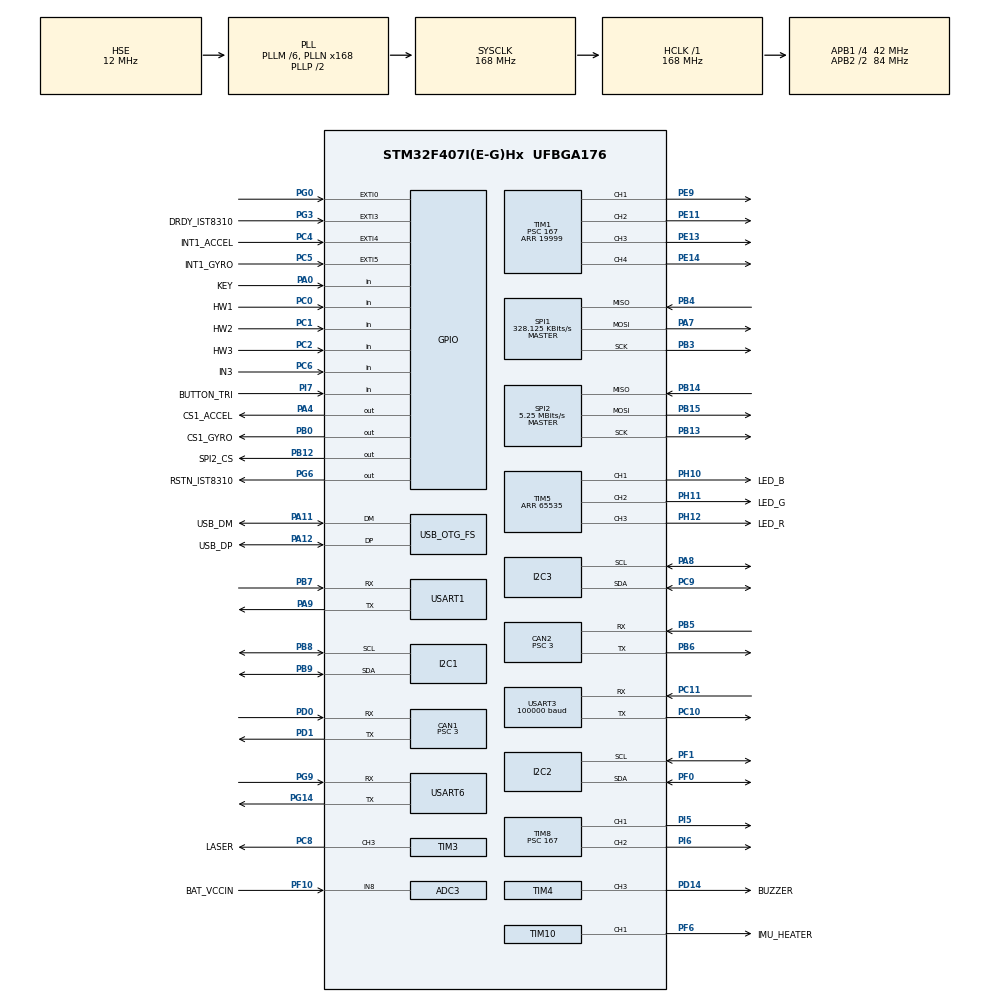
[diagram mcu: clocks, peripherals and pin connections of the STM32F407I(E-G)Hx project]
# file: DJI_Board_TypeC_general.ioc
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ADC1.Channel-0\#ChannelRegularConversion=ADC_CHANNEL_TEMPSENSOR
ADC1.Channel-1\#ChannelRegularConversion=ADC_CHANNEL_VREFINT
ADC1.ClockPrescaler=ADC_CLOCK_SYNC_PCLK_DIV6
ADC1.NbrOfConversion=2
ADC1.NbrOfConversionFlag=1
ADC1.Rank-0\#ChannelRegularConversion=1
ADC1.Rank-1\#ChannelRegularConversion=2
ADC1.SamplingTime-0\#ChannelRegularConversion=ADC_SAMPLETIME_3CYCLES
ADC1.SamplingTime-1\#ChannelRegularConversion=ADC_SAMPLETIME_3CYCLES
ADC1.master=1
ADC3.Channel-0\#ChannelRegularConversion=ADC_CHANNEL_8
ADC3.ClockPrescaler=ADC_CLOCK_SYNC_PCLK_DIV6
ADC3.NbrOfConversionFlag=1
ADC3.Rank-0\#ChannelRegularConversion=1
ADC3.SamplingTime-0\#ChannelRegularConversion=ADC_SAMPLETIME_3CYCLES
CAN1.ABOM=ENABLE
CAN1.BS1=CAN_BS1_9TQ
CAN1.BS2=CAN_BS2_4TQ
CAN1.CalculateBaudRate=1000000
CAN1.CalculateTimeBit=1000
CAN1.CalculateTimeQuantum=71.42857142857143
CAN1.NART=ENABLE
CAN1.Prescaler=3
CAN2.ABOM=ENABLE
CAN2.BS1=CAN_BS1_9TQ
CAN2.BS2=CAN_BS2_4TQ
CAN2.CalculateBaudRate=1000000
CAN2.CalculateTimeBit=1000
CAN2.CalculateTimeQuantum=71.42857142857143
CAN2.NART=ENABLE
CAN2.Prescaler=3
Dma.I2C2_RX.10.Direction=DMA_PERIPH_TO_MEMORY
Dma.I2C2_RX.10.FIFOMode=DMA_FIFOMODE_DISABLE
Dma.I2C2_RX.10.Instance=DMA1_Stream3
Dma.I2C2_RX.10.MemDataAlignment=DMA_MDATAALIGN_BYTE
Dma.I2C2_RX.10.MemInc=DMA_MINC_ENABLE
Dma.I2C2_RX.10.Mode=DMA_NORMAL
Dma.I2C2_RX.10.PeriphDataAlignment=DMA_PDATAALIGN_BYTE
Dma.I2C2_RX.10.PeriphInc=DMA_PINC_DISABLE
Dma.I2C2_RX.10.Priority=DMA_PRIORITY_HIGH
Dma.I2C2_TX.5.Direction=DMA_MEMORY_TO_PERIPH
Dma.I2C2_TX.5.FIFOMode=DMA_FIFOMODE_DISABLE
Dma.I2C2_TX.5.Instance=DMA1_Stream7
Dma.I2C2_TX.5.MemDataAlignment=DMA_MDATAALIGN_BYTE
Dma.I2C2_TX.5.MemInc=DMA_MINC_ENABLE
Dma.I2C2_TX.5.Mode=DMA_NORMAL
Dma.I2C2_TX.5.PeriphDataAlignment=DMA_PDATAALIGN_BYTE
Dma.I2C2_TX.5.PeriphInc=DMA_PINC_DISABLE
Dma.I2C2_TX.5.Priority=DMA_PRIORITY_HIGH
Dma.I2C3_RX.8.Direction=DMA_PERIPH_TO_MEMORY
Dma.I2C3_RX.8.FIFOMode=DMA_FIFOMODE_DISABLE
Dma.I2C3_RX.8.Instance=DMA1_Stream2
Dma.I2C3_RX.8.MemDataAlignment=DMA_MDATAALIGN_BYTE
Dma.I2C3_RX.8.MemInc=DMA_MINC_ENABLE
Dma.I2C3_RX.8.Mode=DMA_NORMAL
Dma.I2C3_RX.8.PeriphDataAlignment=DMA_PDATAALIGN_BYTE
Dma.I2C3_RX.8.PeriphInc=DMA_PINC_DISABLE
Dma.I2C3_RX.8.Priority=DMA_PRIORITY_HIGH
Dma.I2C3_TX.9.Direction=DMA_MEMORY_TO_PERIPH
Dma.I2C3_TX.9.FIFOMode=DMA_FIFOMODE_DISABLE
Dma.I2C3_TX.9.Instance=DMA1_Stream4
Dma.I2C3_TX.9.MemDataAlignment=DMA_MDATAALIGN_BYTE
Dma.I2C3_TX.9.MemInc=DMA_MINC_ENABLE
Dma.I2C3_TX.9.Mode=DMA_NORMAL
Dma.I2C3_TX.9.PeriphDataAlignment=DMA_PDATAALIGN_BYTE
Dma.I2C3_TX.9.PeriphInc=DMA_PINC_DISABLE
Dma.I2C3_TX.9.Priority=DMA_PRIORITY_HIGH
Dma.Request0=USART1_TX
Dma.Request1=USART1_RX
Dma.Request10=I2C2_RX
Dma.Request2=USART3_RX
Dma.Request3=USART6_RX
Dma.Request4=USART6_TX
Dma.Request5=I2C2_TX
Dma.Request6=SPI1_RX
Dma.Request7=SPI1_TX
Dma.Request8=I2C3_RX
Dma.Request9=I2C3_TX
Dma.SPI1_RX.6.Direction=DMA_PERIPH_TO_MEMORY
Dma.SPI1_RX.6.FIFOMode=DMA_FIFOMODE_DISABLE
Dma.SPI1_RX.6.Instance=DMA2_Stream0
Dma.SPI1_RX.6.MemDataAlignment=DMA_MDATAALIGN_BYTE
Dma.SPI1_RX.6.MemInc=DMA_MINC_ENABLE
Dma.SPI1_RX.6.Mode=DMA_NORMAL
Dma.SPI1_RX.6.PeriphDataAlignment=DMA_PDATAALIGN_BYTE
Dma.SPI1_RX.6.PeriphInc=DMA_PINC_DISABLE
Dma.SPI1_RX.6.Priority=DMA_PRIORITY_VERY_HIGH
Dma.SPI1_TX.7.Direction=DMA_MEMORY_TO_PERIPH
Dma.SPI1_TX.7.FIFOMode=DMA_FIFOMODE_DISABLE
Dma.SPI1_TX.7.Instance=DMA2_Stream3
Dma.SPI1_TX.7.MemDataAlignment=DMA_MDATAALIGN_BYTE
Dma.SPI1_TX.7.MemInc=DMA_MINC_ENABLE
Dma.SPI1_TX.7.Mode=DMA_NORMAL
Dma.SPI1_TX.7.PeriphDataAlignment=DMA_PDATAALIGN_BYTE
Dma.SPI1_TX.7.PeriphInc=DMA_PINC_DISABLE
Dma.SPI1_TX.7.Priority=DMA_PRIORITY_VERY_HIGH
Dma.USART1_RX.1.Direction=DMA_PERIPH_TO_MEMORY
Dma.USART1_RX.1.FIFOMode=DMA_FIFOMODE_DISABLE
Dma.USART1_RX.1.Instance=DMA2_Stream5
Dma.USART1_RX.1.MemDataAlignment=DMA_MDATAALIGN_BYTE
Dma.USART1_RX.1.MemInc=DMA_MINC_ENABLE
Dma.USART1_RX.1.Mode=DMA_CIRCULAR
Dma.USART1_RX.1.PeriphDataAlignment=DMA_PDATAALIGN_BYTE
Dma.USART1_RX.1.PeriphInc=DMA_PINC_DISABLE
Dma.USART1_RX.1.Priority=DMA_PRIORITY_MEDIUM
Dma.USART1_TX.0.Direction=DMA_MEMORY_TO_PERIPH
Dma.USART1_TX.0.FIFOMode=DMA_FIFOMODE_DISABLE
Dma.USART1_TX.0.Instance=DMA2_Stream7
Dma.USART1_TX.0.MemDataAlignment=DMA_MDATAALIGN_BYTE
Dma.USART1_TX.0.MemInc=DMA_MINC_ENABLE
Dma.USART1_TX.0.Mode=DMA_NORMAL
Dma.USART1_TX.0.PeriphDataAlignment=DMA_PDATAALIGN_BYTE
Dma.USART1_TX.0.PeriphInc=DMA_PINC_DISABLE
Dma.USART1_TX.0.Priority=DMA_PRIORITY_MEDIUM
Dma.USART3_RX.2.Direction=DMA_PERIPH_TO_MEMORY
Dma.USART3_RX.2.FIFOMode=DMA_FIFOMODE_DISABLE
Dma.USART3_RX.2.Instance=DMA1_Stream1
Dma.USART3_RX.2.MemDataAlignment=DMA_MDATAALIGN_BYTE
Dma.USART3_RX.2.MemInc=DMA_MINC_ENABLE
Dma.USART3_RX.2.Mode=DMA_CIRCULAR
Dma.USART3_RX.2.PeriphDataAlignment=DMA_PDATAALIGN_BYTE
Dma.USART3_RX.2.PeriphInc=DMA_PINC_DISABLE
Dma.USART3_RX.2.Priority=DMA_PRIORITY_HIGH
Dma.USART6_RX.3.Direction=DMA_PERIPH_TO_MEMORY
Dma.USART6_RX.3.FIFOMode=DMA_FIFOMODE_DISABLE
Dma.USART6_RX.3.Instance=DMA2_Stream1
Dma.USART6_RX.3.MemDataAlignment=DMA_MDATAALIGN_BYTE
Dma.USART6_RX.3.MemInc=DMA_MINC_ENABLE
Dma.USART6_RX.3.Mode=DMA_CIRCULAR
Dma.USART6_RX.3.PeriphDataAlignment=DMA_PDATAALIGN_BYTE
Dma.USART6_RX.3.PeriphInc=DMA_PINC_DISABLE
Dma.USART6_RX.3.Priority=DMA_PRIORITY_HIGH
Dma.USART6_TX.4.Direction=DMA_MEMORY_TO_PERIPH
Dma.USART6_TX.4.FIFOMode=DMA_FIFOMODE_DISABLE
Dma.USART6_TX.4.Instance=DMA2_Stream6
Dma.USART6_TX.4.MemDataAlignment=DMA_MDATAALIGN_BYTE
Dma.USART6_TX.4.MemInc=DMA_MINC_ENABLE
Dma.USART6_TX.4.Mode=DMA_NORMAL
Dma.USART6_TX.4.PeriphDataAlignment=DMA_PDATAALIGN_BYTE
Dma.USART6_TX.4.PeriphInc=DMA_PINC_DISABLE
Dma.USART6_TX.4.Priority=DMA_PRIORITY_HIGH
FREERTOS.Tasks01=defaultTask,32,1024,StartDefaultTask,Default,NULL,Dynamic,NULL,NULL
FREERTOS.configCHECK_FOR_STACK_OVERFLOW=2
FREERTOS.configENABLE_FPU=1
FREERTOS.configGENERATE_RUN_TIME_STATS=1
FREERTOS.configLIBRARY_MAX_SYSCALL_INTERRUPT_PRIORITY=5
FREERTOS.configTOTAL_HEAP_SIZE=65536
I2C1.I2C_Mode=I2C_Fast
I2C2.I2C_Mode=I2C_Fast
I2C3.I2C_Mode=I2C_Fast
Mcu.Family=STM32F4
Mcu.Name=STM32F407I(E-G)Hx
Mcu.Package=UFBGA176
NVIC.ADC_IRQn=true\:5\:0\:false\:false\:true\:true\:true\:true\:true
NVIC.CAN1_RX0_IRQn=true\:5\:0\:false\:false\:true\:true\:true\:true\:true
NVIC.CAN1_TX_IRQn=true\:5\:0\:false\:false\:true\:true\:true\:true\:true
NVIC.CAN2_RX0_IRQn=true\:5\:0\:false\:false\:true\:true\:true\:true\:true
NVIC.CAN2_RX1_IRQn=true\:5\:0\:false\:false\:true\:true\:true\:true\:true
NVIC.CAN2_TX_IRQn=true\:5\:0\:false\:false\:true\:true\:true\:true\:true
NVIC.DMA1_Stream1_IRQn=true\:5\:0\:false\:false\:true\:true\:false\:true\:true
NVIC.DMA1_Stream2_IRQn=true\:5\:0\:false\:false\:true\:true\:false\:true\:true
NVIC.DMA1_Stream3_IRQn=true\:5\:0\:false\:false\:true\:true\:false\:true\:true
NVIC.DMA1_Stream4_IRQn=true\:5\:0\:false\:false\:true\:true\:false\:true\:true
NVIC.DMA1_Stream7_IRQn=true\:5\:0\:false\:false\:true\:true\:false\:true\:true
NVIC.DMA2_Stream0_IRQn=true\:5\:0\:false\:false\:true\:true\:false\:true\:true
NVIC.DMA2_Stream1_IRQn=true\:5\:0\:false\:false\:true\:true\:false\:true\:true
NVIC.DMA2_Stream3_IRQn=true\:5\:0\:false\:false\:true\:true\:false\:true\:true
NVIC.DMA2_Stream5_IRQn=true\:5\:0\:false\:false\:true\:false\:false\:true\:true
NVIC.DMA2_Stream6_IRQn=true\:5\:0\:false\:false\:true\:true\:false\:true\:true
NVIC.DMA2_Stream7_IRQn=true\:5\:0\:false\:false\:true\:true\:false\:true\:true
NVIC.EXTI0_IRQn=true\:5\:0\:false\:false\:true\:true\:true\:true\:true
NVIC.EXTI3_IRQn=true\:5\:0\:true\:false\:true\:true\:true\:true\:true
NVIC.EXTI4_IRQn=true\:5\:0\:true\:false\:true\:true\:true\:true\:true
NVIC.EXTI9_5_IRQn=true\:5\:0\:false\:false\:true\:true\:true\:true\:true
NVIC.I2C1_ER_IRQn=true\:5\:0\:false\:false\:true\:true\:true\:true\:true
NVIC.I2C1_EV_IRQn=true\:5\:0\:false\:false\:true\:true\:true\:true\:true
NVIC.I2C2_ER_IRQn=true\:5\:0\:false\:false\:true\:true\:true\:true\:true
NVIC.I2C2_EV_IRQn=true\:5\:0\:false\:false\:true\:true\:true\:true\:true
NVIC.I2C3_ER_IRQn=true\:5\:0\:false\:false\:true\:true\:true\:true\:true
NVIC.I2C3_EV_IRQn=true\:5\:0\:false\:false\:true\:true\:true\:true\:true
NVIC.OTG_FS_IRQn=true\:5\:0\:false\:false\:true\:true\:true\:true\:true
NVIC.PriorityGroup=NVIC_PRIORITYGROUP_4
NVIC.SPI1_IRQn=true\:5\:0\:true\:false\:true\:true\:true\:true\:true
NVIC.SPI2_IRQn=true\:5\:0\:false\:false\:true\:true\:true\:true\:true
NVIC.TIM2_IRQn=true\:0\:0\:false\:false\:true\:false\:false\:true\:true
NVIC.TimeBase=TIM2_IRQn
NVIC.TimeBaseIP=TIM2
NVIC.USART1_IRQn=true\:5\:0\:true\:false\:true\:true\:true\:true\:true
NVIC.USART3_IRQn=true\:4\:0\:true\:false\:true\:false\:true\:true\:true
NVIC.USART6_IRQn=true\:5\:0\:true\:false\:true\:true\:true\:true\:true
PA0-WKUP.GPIO_Label=KEY
PA0-WKUP.GPIO_PuPd=GPIO_PULLUP
PA0-WKUP.Signal=GPIO_Input
PA11.GPIO_Label=USB_DM
PA11.Mode=Device_Only
PA11.Signal=USB_OTG_FS_DM
PA12.GPIO_Label=USB_DP
PA12.Mode=Device_Only
PA12.Signal=USB_OTG_FS_DP
PA13.Mode=Serial_Wire
PA13.Signal=SYS_JTMS-SWDIO
PA14.Mode=Serial_Wire
PA14.Signal=SYS_JTCK-SWCLK
PA4.GPIO_Label=CS1_ACCEL
PA4.GPIO_PuPd=GPIO_PULLUP
PA4.GPIO_Speed=GPIO_SPEED_FREQ_HIGH
PA4.PinState=GPIO_PIN_SET
PA4.Signal=GPIO_Output
PA7.GPIO_PuPd=GPIO_PULLUP
PA7.Mode=Full_Duplex_Master
PA7.Signal=SPI1_MOSI
PA8.GPIO_Pu=GPIO_PULLUP
PA8.Mode=I2C
PA8.Signal=I2C3_SCL
PA9.Mode=Asynchronous
PA9.Signal=USART1_TX
PB0.GPIO_Label=CS1_GYRO
PB0.GPIO_PuPd=GPIO_PULLUP
PB0.GPIO_Speed=GPIO_SPEED_FREQ_HIGH
PB0.PinState=GPIO_PIN_SET
PB0.Signal=GPIO_Output
PB12.GPIO_Label=SPI2_CS
PB12.GPIO_PuPd=GPIO_PULLUP
PB12.GPIO_Speed=GPIO_SPEED_FREQ_MEDIUM
PB12.PinState=GPIO_PIN_SET
PB12.Signal=GPIO_Output
PB13.GPIO_PuPd=GPIO_PULLUP
PB13.Mode=Full_Duplex_Master
PB13.Signal=SPI2_SCK
PB14.GPIO_PuPd=GPIO_PULLUP
PB14.Mode=Full_Duplex_Master
PB14.Signal=SPI2_MISO
PB15.GPIO_PuPd=GPIO_PULLUP
PB15.Mode=Full_Duplex_Master
PB15.Signal=SPI2_MOSI
PB3.GPIO_PuPd=GPIO_PULLUP
PB3.Mode=Full_Duplex_Master
PB3.Signal=SPI1_SCK
PB4.GPIO_PuPd=GPIO_PULLUP
PB4.Mode=Full_Duplex_Master
PB4.Signal=SPI1_MISO
PB5.Mode=CAN_Activate
PB5.Signal=CAN2_RX
PB6.Mode=CAN_Activate
PB6.Signal=CAN2_TX
PB7.Mode=Asynchronous
PB7.Signal=USART1_RX
PB8.GPIO_Pu=GPIO_PULLUP
PB8.Mode=I2C
PB8.Signal=I2C1_SCL
PB9.GPIO_Pu=GPIO_PULLUP
PB9.Mode=I2C
PB9.Signal=I2C1_SDA
PC0.GPIO_Label=HW1
PC0.Signal=GPIO_Input
PC1.GPIO_Label=HW2
PC1.Signal=GPIO_Input
PC10.Mode=Asynchronous
PC10.Signal=USART3_TX
PC11.Mode=Asynchronous
PC11.Signal=USART3_RX
PC2.GPIO_Label=HW3
PC2.Signal=GPIO_Input
PC4.GPIO_Label=INT1_ACCEL
PC4.GPIO_PuPd=GPIO_PULLUP
PC4.Signal=GPXTI4
PC5.GPIO_Label=INT1_GYRO
PC5.GPIO_PuPd=GPIO_PULLUP
PC5.Signal=GPXTI5
PC6.GPIO_Label=IN3
PC6.GPIO_PuPd=GPIO_PULLUP
PC6.Signal=GPIO_Input
PC8.GPIO_Label=LASER
PC8.GPIO_Speed=GPIO_SPEED_FREQ_VERY_HIGH
PC8.Signal=S_TIM3_CH3
PC9.GPIO_Pu=GPIO_PULLUP
PC9.Mode=I2C
PC9.Signal=I2C3_SDA
PD0.Mode=CAN_Activate
PD0.Signal=CAN1_RX
PD1.Mode=CAN_Activate
PD1.Signal=CAN1_TX
PD14.GPIO_Label=BUZZER
PD14.GPIO_Speed=GPIO_SPEED_FREQ_VERY_HIGH
PD14.Signal=S_TIM4_CH3
PE11.GPIO_Speed=GPIO_SPEED_FREQ_VERY_HIGH
PE11.Signal=S_TIM1_CH2
PE13.GPIO_Speed=GPIO_SPEED_FREQ_VERY_HIGH
PE13.Signal=S_TIM1_CH3
PE14.GPIO_Speed=GPIO_SPEED_FREQ_VERY_HIGH
PE14.Signal=S_TIM1_CH4
PE9.GPIO_Speed=GPIO_SPEED_FREQ_VERY_HIGH
PE9.Signal=S_TIM1_CH1
PF0.GPIO_Pu=GPIO_PULLUP
PF0.Mode=I2C
PF0.Signal=I2C2_SDA
PF1.GPIO_Pu=GPIO_PULLUP
PF1.Mode=I2C
PF1.Signal=I2C2_SCL
PF10.GPIO_Label=BAT_VCCIN
PF10.Mode=IN8
PF10.Signal=ADC3_IN8
PF6.GPIO_Label=IMU_HEATER
PF6.GPIO_Speed=GPIO_SPEED_FREQ_VERY_HIGH
PF6.Signal=S_TIM10_CH1
PG0.GPIO_PuPd=GPIO_PULLUP
PG0.Signal=GPXTI0
PG14.Mode=Asynchronous
PG14.Signal=USART6_TX
PG3.GPIO_Label=DRDY_IST8310
PG3.GPIO_PuPd=GPIO_PULLUP
PG3.Signal=GPXTI3
PG6.GPIO_Label=RSTN_IST8310
PG6.GPIO_PuPd=GPIO_PULLUP
PG6.GPIO_Speed=GPIO_SPEED_FREQ_MEDIUM
PG6.PinState=GPIO_PIN_SET
PG6.Signal=GPIO_Output
PG9.Mode=Asynchronous
PG9.Signal=USART6_RX
PH0-OSC_IN.Mode=HSE-External-Oscillator
PH0-OSC_IN.Signal=RCC_OSC_IN
PH1-OSC_OUT.Mode=HSE-External-Oscillator
PH1-OSC_OUT.Signal=RCC_OSC_OUT
PH10.GPIO_Label=LED_B
PH10.GPIO_Speed=GPIO_SPEED_FREQ_VERY_HIGH
PH10.Signal=S_TIM5_CH1
PH11.GPIO_Label=LED_G
PH11.GPIO_Speed=GPIO_SPEED_FREQ_VERY_HIGH
PH11.Signal=S_TIM5_CH2
PH12.GPIO_Label=LED_R
PH12.GPIO_Speed=GPIO_SPEED_FREQ_VERY_HIGH
PH12.Signal=S_TIM5_CH3
PI5.GPIO_Speed=GPIO_SPEED_FREQ_VERY_HIGH
PI5.Signal=S_TIM8_CH1
PI6.GPIO_Speed=GPIO_SPEED_FREQ_VERY_HIGH
PI6.Signal=S_TIM8_CH2
PI7.GPIO_Label=BUTTON_TRI
PI7.GPIO_PuPd=GPIO_PULLUP
PI7.Signal=GPIO_Input
ProjectManager.HeapSize=0x2000
ProjectManager.StackSize=0x2000
ProjectManager.TargetToolchain=Makefile
RCC.48MHZClocksFreq_Value=48000000
RCC.AHBFreq_Value=168000000
RCC.APB1CLKDivider=RCC_HCLK_DIV4
RCC.APB1Freq_Value=42000000
RCC.APB1TimFreq_Value=84000000
RCC.APB2CLKDivider=RCC_HCLK_DIV2
RCC.APB2Freq_Value=84000000
RCC.APB2TimFreq_Value=168000000
RCC.CortexFreq_Value=168000000
RCC.HCLKFreq_Value=168000000
RCC.HSE_VALUE=12000000
RCC.HSI_VALUE=16000000
RCC.LSE_VALUE=32768
RCC.PLLM=6
RCC.PLLN=168
RCC.PLLQ=7
RCC.SYSCLKFreq_VALUE=168000000
RCC.SYSCLKSource=RCC_SYSCLKSOURCE_PLLCLK
RCC.VCOOutputFreq_Value=336000000
RTC.AsynchPrediv=124
RTC.SynchPrediv=3199
SH.S_TIM10_CH1.0=TIM10_CH1,PWM Generation1 CH1
SH.S_TIM1_CH1.0=TIM1_CH1,PWM Generation1 CH1
SH.S_TIM1_CH2.0=TIM1_CH2,PWM Generation2 CH2
SH.S_TIM1_CH3.0=TIM1_CH3,PWM Generation3 CH3
SH.S_TIM1_CH4.0=TIM1_CH4,PWM Generation4 CH4
SH.S_TIM3_CH3.0=TIM3_CH3,PWM Generation3 CH3
SH.S_TIM4_CH3.0=TIM4_CH3,PWM Generation3 CH3
SH.S_TIM5_CH1.0=TIM5_CH1,PWM Generation1 CH1
SH.S_TIM5_CH2.0=TIM5_CH2,PWM Generation2 CH2
SH.S_TIM5_CH3.0=TIM5_CH3,PWM Generation3 CH3
SH.S_TIM8_CH1.0=TIM8_CH1,PWM Generation1 CH1
SH.S_TIM8_CH2.0=TIM8_CH2,PWM Generation2 CH2
SPI1.BaudRatePrescaler=SPI_BAUDRATEPRESCALER_256
SPI1.CLKPhase=SPI_PHASE_2EDGE
SPI1.CLKPolarity=SPI_POLARITY_HIGH
SPI1.CalculateBaudRate=328.125 KBits/s
SPI1.Direction=SPI_DIRECTION_2LINES
SPI1.Mode=SPI_MODE_MASTER
SPI1.VirtualType=VM_MASTER
SPI2.BaudRatePrescaler=SPI_BAUDRATEPRESCALER_8
SPI2.CLKPhase=SPI_PHASE_2EDGE
SPI2.CLKPolarity=SPI_POLARITY_HIGH
SPI2.CalculateBaudRate=5.25 MBits/s
SPI2.Direction=SPI_DIRECTION_2LINES
SPI2.Mode=SPI_MODE_MASTER
SPI2.VirtualType=VM_MASTER
TIM1.Channel-PWM\ Generation1\ CH1=TIM_CHANNEL_1
TIM1.Channel-PWM\ Generation2\ CH2=TIM_CHANNEL_2
TIM1.Channel-PWM\ Generation3\ CH3=TIM_CHANNEL_3
TIM1.Channel-PWM\ Generation4\ CH4=TIM_CHANNEL_4
TIM1.Period=19999
TIM1.Prescaler=167
TIM1.Pulse-PWM\ Generation1\ CH1=1000
TIM1.Pulse-PWM\ Generation2\ CH2=1000
TIM1.Pulse-PWM\ Generation3\ CH3=1000
TIM1.Pulse-PWM\ Generation4\ CH4=1000
TIM10.Channel=TIM_CHANNEL_1
TIM10.Period=4999
TIM3.Channel-PWM\ Generation3\ CH3=TIM_CHANNEL_3
TIM3.Period=65535
TIM3.Prescaler=0
TIM4.Channel-PWM\ Generation3\ CH3=TIM_CHANNEL_3
TIM4.Period=0
TIM4.Prescaler=83
TIM5.Channel-PWM\ Generation1\ CH1=TIM_CHANNEL_1
TIM5.Channel-PWM\ Generation2\ CH2=TIM_CHANNEL_2
TIM5.Channel-PWM\ Generation3\ CH3=TIM_CHANNEL_3
TIM5.Period=65535
TIM8.Channel-PWM\ Generation1\ CH1=TIM_CHANNEL_1
TIM8.Channel-PWM\ Generation2\ CH2=TIM_CHANNEL_2
TIM8.Period=19999
TIM8.Prescaler=167
TIM8.Pulse-PWM\ Generation1\ CH1=1000
TIM8.Pulse-PWM\ Generation2\ CH2=1000
USART1.VirtualMode=VM_ASYNC
USART3.BaudRate=100000
USART3.Mode=MODE_RX
USART3.Parity=PARITY_EVEN
USART3.VirtualMode=VM_ASYNC
USART3.WordLength=WORDLENGTH_8B
USART6.VirtualMode=VM_ASYNC
USB_DEVICE.CLASS_NAME_FS=CDC
USB_DEVICE.VirtualMode-CDC_FS=Cdc
USB_DEVICE.VirtualModeFS=Cdc_FS
USB_OTG_FS.VirtualMode=Device_Only
VP_ADC1_TempSens_Input.Mode=IN-TempSens
VP_ADC1_Vref_Input.Mode=IN-Vrefint
VP_CRC_VS_CRC.Mode=CRC_Activate
VP_FREERTOS_VS_CMSIS_V2.Mode=CMSIS_V2
VP_RNG_VS_RNG.Mode=RNG_Activate
VP_RTC_VS_RTC_Activate.Mode=RTC_Enabled
VP_SYS_VS_tim2.Mode=TIM2
VP_TIM10_VS_ClockSourceINT.Mode=Enable_Timer
VP_TIM1_VS_ClockSourceINT.Mode=Internal
VP_TIM3_VS_ClockSourceINT.Mode=Internal
VP_TIM5_VS_ClockSourceINT.Mode=Internal
VP_TIM8_VS_ClockSourceINT.Mode=Internal
VP_USB_DEVICE_VS_USB_DEVICE_CDC_FS.Mode=CDC_FS
board=custom

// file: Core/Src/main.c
/* USER CODE BEGIN Header */
/**
  ******************************************************************************
  * @file           : main.c
  * @brief          : Main program body
  ******************************************************************************
  * @attention
  *
  * Copyright (c) 2023 STMicroelectronics.
  * All rights reserved.
  *
  * This software is licensed under terms that can be found in the LICENSE file
  * in the root directory of this software component.
  * If no LICENSE file comes with this software, it is provided AS-IS.
  *
  ******************************************************************************
  */
/* USER CODE END Header */
#include "main.h"
#include "cmsis_os.h"
#include "adc.h"
#include "can.h"
#include "crc.h"
#include "dma.h"
#include "i2c.h"
#include "rng.h"
#include "rtc.h"
#include "spi.h"
#include "tim.h"
#include "usart.h"
#include "usb_device.h"
#include "gpio.h"

void SystemClock_Config(void);
void MX_FREERTOS_Init(void);

int main(void)
{

  /* MCU Configuration--------------------------------------------------------*/

  /* Reset of all peripherals, Initializes the Flash interface and the Systick. */
  HAL_Init();

  /* Configure the system clock */
  SystemClock_Config();

  /* Initialize all configured peripherals */
  MX_GPIO_Init();
  MX_DMA_Init();
  MX_ADC1_Init();
  MX_ADC3_Init();
  MX_CRC_Init();
  MX_I2C1_Init();
  MX_I2C2_Init();
  MX_I2C3_Init();
  MX_RNG_Init();
  MX_RTC_Init();
  MX_SPI1_Init();
  MX_SPI2_Init();
  MX_TIM1_Init();
  MX_TIM3_Init();
  MX_TIM4_Init();
  MX_TIM5_Init();
  MX_TIM8_Init();
  MX_TIM10_Init();
  MX_USART1_UART_Init();
  MX_USART3_UART_Init();
  MX_USART6_UART_Init();
  MX_CAN1_Init();
  MX_CAN2_Init();

  /* Init scheduler */
  osKernelInitialize();  /* Call init function for freertos objects (in cmsis_os2.c) */
  MX_FREERTOS_Init();

  /* Start scheduler */
  osKernelStart();

  /* We should never get here as control is now taken by the scheduler */

  /* Infinite loop */
  while (1)
  {

  }
}

void SystemClock_Config(void)
{
  RCC_OscInitTypeDef RCC_OscInitStruct = {0};
  RCC_ClkInitTypeDef RCC_ClkInitStruct = {0};

  /** Configure the main internal regulator output voltage
  */
  __HAL_RCC_PWR_CLK_ENABLE();
  __HAL_PWR_VOLTAGESCALING_CONFIG(PWR_REGULATOR_VOLTAGE_SCALE1);

  /** Initializes the RCC Oscillators according to the specified parameters
  * in the RCC_OscInitTypeDef structure.
  */
  RCC_OscInitStruct.OscillatorType = RCC_OSCILLATORTYPE_LSI|RCC_OSCILLATORTYPE_HSE;
  RCC_OscInitStruct.HSEState = RCC_HSE_ON;
  RCC_OscInitStruct.LSIState = RCC_LSI_ON;
  RCC_OscInitStruct.PLL.PLLState = RCC_PLL_ON;
  RCC_OscInitStruct.PLL.PLLSource = RCC_PLLSOURCE_HSE;
  RCC_OscInitStruct.PLL.PLLM = 6;
  RCC_OscInitStruct.PLL.PLLN = 168;
  RCC_OscInitStruct.PLL.PLLP = RCC_PLLP_DIV2;
  RCC_OscInitStruct.PLL.PLLQ = 7;
  if (HAL_RCC_OscConfig(&RCC_OscInitStruct) != HAL_OK)
  {
    Error_Handler();
  }

  /** Initializes the CPU, AHB and APB buses clocks
  */
  RCC_ClkInitStruct.ClockType = RCC_CLOCKTYPE_HCLK|RCC_CLOCKTYPE_SYSCLK
                              |RCC_CLOCKTYPE_PCLK1|RCC_CLOCKTYPE_PCLK2;
  RCC_ClkInitStruct.SYSCLKSource = RCC_SYSCLKSOURCE_PLLCLK;
  RCC_ClkInitStruct.AHBCLKDivider = RCC_SYSCLK_DIV1;
  RCC_ClkInitStruct.APB1CLKDivider = RCC_HCLK_DIV4;
  RCC_ClkInitStruct.APB2CLKDivider = RCC_HCLK_DIV2;

  if (HAL_RCC_ClockConfig(&RCC_ClkInitStruct, FLASH_LATENCY_5) != HAL_OK)
  {
    Error_Handler();
  }
}

void HAL_TIM_PeriodElapsedCallback(TIM_HandleTypeDef *htim)
{
  if (htim->Instance == TIM2)
  {
    HAL_IncTick();
  }
}

void Error_Handler(void)
{
  __disable_irq();
  while (1)
  {
  }
}

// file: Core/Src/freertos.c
/* USER CODE BEGIN Header */
/**
  ******************************************************************************
  * File Name          : freertos.c
  * Description        : Code for freertos applications
  ******************************************************************************
  * @attention
  *
  * Copyright (c) 2023 STMicroelectronics.
  * All rights reserved.
  *
  * This software is licensed under terms that can be found in the LICENSE file
  * in the root directory of this software component.
  * If no LICENSE file comes with this software, it is provided AS-IS.
  *
  ******************************************************************************
  */
/* USER CODE END Header */

#include "FreeRTOS.h"
#include "task.h"
#include "main.h"
#include "cmsis_os.h"

/* Definitions for defaultTask */
osThreadId_t defaultTaskHandle;
const osThreadAttr_t defaultTask_attributes = {
  .name = "defaultTask",
  .stack_size = 1024 * 4,
  .priority = (osPriority_t) osPriorityAboveNormal,
};

/* USER CODE BEGIN FunctionPrototypes */
/* implement the functions below at application level */
__weak void RM_RTOS_Init(void) {}
__weak void RM_RTOS_Mutexes_Init(void) {}
__weak void RM_RTOS_Semaphores_Init(void) {}
__weak void RM_RTOS_Timers_Init(void) {}
__weak void RM_RTOS_Queues_Init(void) {}
__weak void RM_RTOS_Threads_Init(void) {}
__weak void RM_RTOS_Ready(void) {}
__weak void RM_RTOS_Default_Task(const void *argument) { UNUSED(argument); }
/* USER CODE END FunctionPrototypes */

void StartDefaultTask(void *argument);

extern void MX_USB_DEVICE_Init(void);
void MX_FREERTOS_Init(void); /* (MISRA C 2004 rule 8.1) */

/* Hook prototypes */
void configureTimerForRunTimeStats(void);
unsigned long getRunTimeCounterValue(void);
void vApplicationStackOverflowHook(xTaskHandle xTask, signed char *pcTaskName);

/* USER CODE BEGIN 1 */
/* Functions needed when configGENERATE_RUN_TIME_STATS is on */
__weak void configureTimerForRunTimeStats(void)
{

}

__weak unsigned long getRunTimeCounterValue(void)
{
return 0;
}
/* USER CODE END 1 */

/* USER CODE BEGIN 4 */
void vApplicationStackOverflowHook(xTaskHandle xTask, signed char *pcTaskName)
{
   /* Run time stack overflow checking is performed if
   configCHECK_FOR_STACK_OVERFLOW is defined to 1 or 2. This hook function is
   called if a stack overflow is detected. */
}
/* USER CODE END 4 */

void MX_FREERTOS_Init(void) {
  /* USER CODE BEGIN Init */
    RM_RTOS_Init();

  /* USER CODE END Init */

  /* USER CODE BEGIN RTOS_MUTEX */
    /* add mutexes, ... */
    RM_RTOS_Mutexes_Init();
  /* USER CODE END RTOS_MUTEX */

  /* USER CODE BEGIN RTOS_SEMAPHORES */
    /* add semaphores, ... */
    RM_RTOS_Semaphores_Init();
  /* USER CODE END RTOS_SEMAPHORES */

  /* USER CODE BEGIN RTOS_TIMERS */
    /* start timers, add new ones, ... */
    RM_RTOS_Timers_Init();
  /* USER CODE END RTOS_TIMERS */

  /* USER CODE BEGIN RTOS_QUEUES */
    /* add queues, ... */
    RM_RTOS_Queues_Init();
  /* USER CODE END RTOS_QUEUES */

  /* Create the thread(s) */
  /* creation of defaultTask */
  defaultTaskHandle = osThreadNew(StartDefaultTask, NULL, &defaultTask_attributes);

  /* USER CODE BEGIN RTOS_THREADS */
    /* add threads, ... */
    RM_RTOS_Threads_Init();
    RM_RTOS_Ready();
  /* USER CODE END RTOS_THREADS */

}

void StartDefaultTask(void *argument)
{
  /* init code for USB_DEVICE */
  MX_USB_DEVICE_Init();
  /* USER CODE BEGIN StartDefaultTask */
  RM_RTOS_Default_Task(argument);
  /* Infinite loop */
  for(;;)
  {
    osDelay(1);
  }
  /* USER CODE END StartDefaultTask */
}
